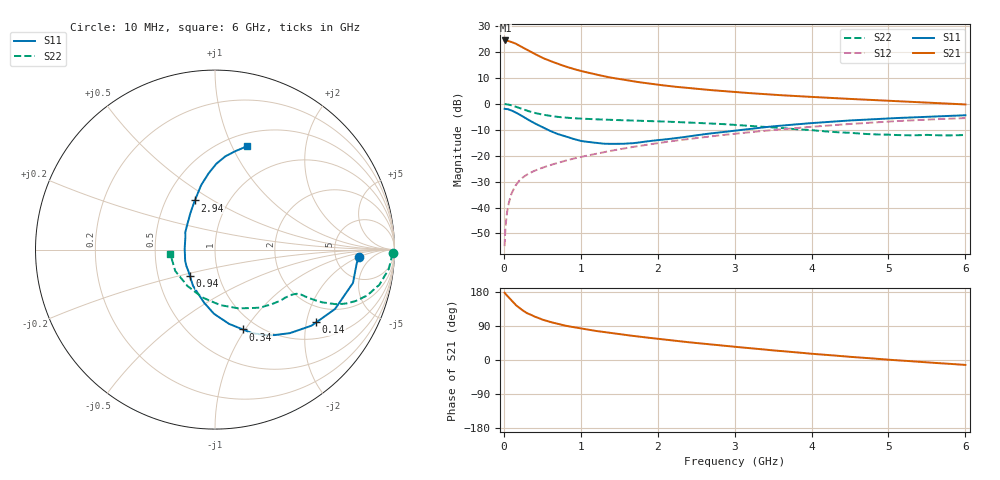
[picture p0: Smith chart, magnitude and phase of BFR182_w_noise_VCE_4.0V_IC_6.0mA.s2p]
! Infineon Technologies  Discrete & RF Semiconductors
! BFR182
! VCE =  4.0 V,  IC =  6.0 mA
! Common Emitter S-Parameters:  Nov 2015
# GHz  S  MA  R  50
!  f  S11  S21  S12  S22
! GHz  MAG  ANG  MAG  ANG  MAG  ANG  MAG  ANG
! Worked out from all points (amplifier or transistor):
!   210 points, 10 MHz to 6 GHz, reference 50 ohm
!   highest |S21| = 24.4 dB at 20 MHz (marker M1)
!   |S21| within 3 dB of that: start of sweep to 264.1 MHz
!   unconditionally stable (mu >= 1): 990.3 MHz to 2.772 GHz
!   at 185 MHz: K = 0.37, MSG = 26.5 dB, |S12| = -30.2 dB
!   at 1.52 GHz: K = 1.05, MAG = 12.0 dB, |S12| = -17.4 dB
!   at 6 GHz: K = 0.89, MSG = 2.6 dB, |S12| = -5.5 dB
!   lowest NFmin = 1.20 dB at 450 MHz
!   S11 on the Smith chart (normalised r, x): 10 MHz: 8.67, -2.06; 140 MHz: 1.46, -2.29; 340 MHz: 0.85, -0.98; 940 MHz: 0.73, -0.22; 2.94 GHz: 0.70, +0.42; 6 GHz: 0.63, +1.14
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0.01  0.8033 -3.0  16.56 177.4  0.0018 94.0  0.9894 -1.2
0.02  0.7936 -5.4  16.62 174.8  0.0038 83.5  0.9848 -2.6
0.05  0.7908 -13.6  16.43 167.9  0.0096 84.0  0.9741 -6.4
0.1  0.7463 -26.3  15.54 157.0  0.0185 77.0  0.9372 -12.0
0.14  0.6947 -35.7  14.71 148.2  0.0247 72.5  0.894 -15.9
0.15  0.685 -38.2  14.56 145.8  0.0263 71.7  0.8839 -16.9
0.2  0.6252 -48.1  13.28 137.7  0.0328 68.5  0.8321 -20.2
0.24  0.5793 -55.3  12.3 131.7  0.0373 65.9  0.7925 -22.2
0.3  0.5094 -66.1  11.02 123.7  0.043 64.1  0.736 -24.4
0.34  0.4712 -70.8  10.25 120.4  0.0463 63.3  0.708 -25.1
0.4  0.421 -79.3  9.17 114.5  0.0512 62.4  0.6661 -26.2
0.5  0.3572 -91.0  7.7 106.6  0.0584 61.7  0.619 -26.9
0.6  0.301 -101.8  6.703 100.4  0.0654 62.0  0.5849 -27.3
0.94  0.2033 -133.3  4.541 85.5  0.0902 63.2  0.5235 -28.2
1.02  0.1905 -141.3  4.227 82.7  0.0957 63.5  0.5161 -28.5
1.4  0.1691 -177.9  3.179 71.1  0.1244 64.0  0.4896 -31.6
2.02  0.2003 142.9  2.314 55.6  0.1757 61.9  0.4587 -38.9
2.94  0.296 112.3  1.713 36.0  0.2586 55.7  0.398 -54.6
3.1  0.3153 108.9  1.644 33.0  0.2735 54.2  0.3834 -58.1
4.1  0.4346 93.8  1.332 15.0  0.3695 44.0  0.3006 -88.3
5.1  0.5303 82.5  1.128 -0.5  0.4629 31.9  0.25 -131.9
6  0.6008 73.0  0.971 -13.0  0.5301 19.3  0.2505 -174.8
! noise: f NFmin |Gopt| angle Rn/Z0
0.45  1.2  0.27  37  0.3
0.9  1.3  0.25  75  0.23
1.8  1.9  0.21  145  0.2
